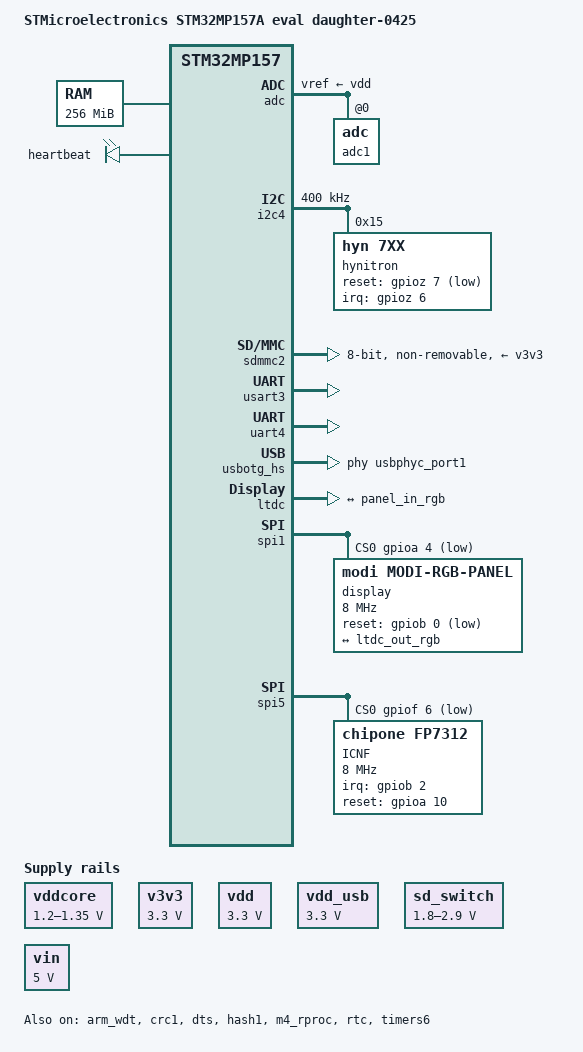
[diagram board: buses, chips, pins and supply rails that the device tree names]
// SPDX-License-Identifier: (GPL-2.0-or-later OR BSD-3-Clause)
/*
 * Copyright (C) STMicroelectronics 2022 - All Rights Reserved
 * Author: Alexandre Torgue <alexandre.torgue@foss.st.com> for STMicroelectronics.
 */
/dts-v1/;

#include "stm32mp157.dtsi"
#include "stm32mp15xa.dtsi"
#include "stm32mp15-pinctrl.dtsi"
#include "stm32mp15xxaa-pinctrl.dtsi"
#include "stm32mp15-m4-srm.dtsi"
#include "stm32mp15-m4-srm-pinctrl.dtsi"
#include "stm32mp157a-ed1-scmi.dtsi"
#include <dt-bindings/gpio/gpio.h>
#include <dt-bindings/mfd/st,stpmic1.h>

/ {
	model = "STMicroelectronics STM32MP157A eval daughter-0425";
	compatible = "st,stm32mp157a-ed1", "st,stm32mp157";

	aliases {
		serial0 = &uart4;
		serial2 = &usart3;
	};

	vddcore: regulator-vddcore {
        compatible = "regulator-fixed";
        regulator-name = "vddcore";
        regulator-min-microvolt = <1200000>;
        regulator-max-microvolt = <1350000>;
        regulator-off-in-suspend;
        regulator-always-on;
    };
    
	v3v3: regulator-3p3v {
        compatible = "regulator-fixed";
        regulator-name = "v3v3";
        regulator-min-microvolt = <3300000>;
        regulator-max-microvolt = <3300000>;
        regulator-off-in-suspend;
        regulator-always-on;
    };
    
    vdd: regulator-vdd {
        compatible = "regulator-fixed";
        regulator-name = "vdd";
        regulator-min-microvolt = <3300000>;
        regulator-max-microvolt = <3300000>;
        regulator-off-in-suspend;
        regulator-always-on;
    };

    vdd_usb: regulator-vdd-usb {
        compatible = "regulator-fixed";
        regulator-name = "vdd_usb";
        regulator-min-microvolt = <3300000>;
        regulator-max-microvolt = <3300000>;
        regulator-off-in-suspend;
        regulator-always-on;
    };    	

	chosen {
		stdout-path = "serial0:115200n8";
	};

	//add by jack.
	panel_backlight: panel-backlight {
		compatible = "gpio-backlight";
		gpios = <&gpioa 15 GPIO_ACTIVE_LOW>;
		default-on;
		status = "disabled";
	};

	memory@c0000000 {
		device_type = "memory";
		reg = <0xc0000000 0x10000000>; //modi: 0x10000000, native: 0x40000000
	};

	reserved-memory {
		#address-cells = <1>;
		#size-cells = <1>;
		ranges;

		mcuram2: mcuram2@10000000 {
			compatible = "shared-dma-pool";
			reg = <0x10000000 0x40000>;
			no-map;
		};

		vdev0vring0: vdev0vring0@10040000 {
			compatible = "shared-dma-pool";
			reg = <0x10040000 0x1000>;
			no-map;
		};

		vdev0vring1: vdev0vring1@10041000 {
			compatible = "shared-dma-pool";
			reg = <0x10041000 0x1000>;
			no-map;
		};

		vdev0buffer: vdev0buffer@10042000 {
			compatible = "shared-dma-pool";
			reg = <0x10042000 0x4000>;
			no-map;
		};

		mcu_rsc_table: mcu-rsc-table@10048000 {
			compatible = "shared-dma-pool";
			reg = <0x10048000 0x8000>;
			no-map;
		};

		mcuram: mcuram@30000000 {
			compatible = "shared-dma-pool";
			reg = <0x30000000 0x40000>;
			no-map;
		};

		retram: retram@38000000 {
			compatible = "shared-dma-pool";
			reg = <0x38000000 0x10000>;
			no-map;
		};

		gpu_reserved: gpu@e8000000 {
			reg = <0xe8000000 0x8000000>;
			no-map;
		};

		/* global autoconfigured region for contiguous allocations */
		linux,cma {
			compatible = "shared-dma-pool";
			reusable;
			size = <0x8000000>;
			alignment = <0x2000>;
			linux,cma-default;
		};
	};

	led {
		compatible = "gpio-leds";
		led-blue {
			label = "heartbeat";
			//gpios = <&gpiod 9 GPIO_ACTIVE_HIGH>;
			linux,default-trigger = "heartbeat";
			default-state = "off";
		};
	};

	sd_switch: regulator-sd-switch {
		compatible = "regulator-gpio";
		regulator-name = "sd_switch";
		regulator-min-microvolt = <1800000>;
		regulator-max-microvolt = <2900000>;
		regulator-type = "voltage";
		regulator-always-on;

		gpios = <&gpiof 14 GPIO_ACTIVE_HIGH>;
		gpios-states = <0>;
		states = <1800000 0x1>,
			 <2900000 0x0>;
	};

	vin: vin {
		compatible = "regulator-fixed";
		regulator-name = "vin";
		regulator-min-microvolt = <5000000>;
		regulator-max-microvolt = <5000000>;
		regulator-always-on;
	};

	//gpio模拟i2c总线，linux驱动. CONFIG_I2C_GPIO.
	//I2C4_SCL 	PZ4
	//I2C4_SDA	PZ5
	// i2c_gpio: i2c-gpio {
	// 	compatible = "i2c-gpio";
	// 	pinctrl-names = "default";
	// 	//pinctrl-0 = <&i2c4_pins_a>;
	// 	gpios = <&gpioz 5 GPIO_ACTIVE_HIGH>, /* sda, 使用gpioz5 */
	// 	<&gpioz 4 GPIO_ACTIVE_HIGH>; /* scl, 使用gpioz4 */
	// 	i2c-gpio,delay-us = <50>;
	// 	status = "okay";
	// 	#address-cells = <1>;
	// 	#size-cells = <0>;

	// 	hynitron@15{

	// 		//参考hynitron驱动内的readme.txt文件，MODI产品屏模组touchscreen驱动芯片cst836u, 驱动内对应配置如下：
	// 		// {.compatible = "hyn,7xx",  .data = &cst7xx_fuc,},    /*suport 726、826、836u*/
	// 		compatible = "hyn,7xx";	 /*suport 726、826、836u*/
	// 		reg = <0x15>; // i2c地址.
			
	// 		interrupt-parent = <&gpioz>;	//MODI,STM32MP157平台，中断在gpioz组内，编号为6.
	// 		interrupts = <6 0x02>;	// reference: interrupts = <6 IRQ_TYPE_EDGE_RISING>; //GPIOZ-6 pin. 中断触发方式为上升沿.
	// 		reset-gpio = <&gpioz 7 0x01>; 	/* 触摸屏复位. MODI, PZ7.*/
	// 		irq-gpio = <&gpioz 6 0x02>;		/* 定义触摸屏中断引脚. MODI, PZ6. */
		
	// 		//panel = <&dsi_1080p_video>;	//CONFIG_DRM_PANEL 需要配置
	// 		panel = <&display>;			/* 关联显示panel面板.*/

	// 		max-touch-number = <5>; 	/*最多5点触摸.*/
	// 		display-coords = <0 0 480 800>;	/*MODI, 480x800, default: display-coords = <0 0 800 1280>;*/
	// 		pos-swap = <0>;     	//xy坐标交换
	// 		posx-reverse = <0>; 	//x坐标反向
	// 		posy-reverse = <0>; 	//y坐标反向

	// 	};

		// sgtl5000: codec@a {
		// 	compatible = "fsl,sgtl5000";
		// 	reg = <0x0a>;
		// 	clocks = <&clk_26M_snd>;
		// 	VDDA-supply = <&vdig_reg>;
		// 	VDDIO-supply = <&vvideo_reg>;
		// 	#sound-dai-cells = <0>;
		// };
	// };

};

&adc {
	/* ANA0, ANA1 are dedicated pins and don't need pinctrl: only in6. */
	pinctrl-0 = <&adc1_in6_pins_a>;
	pinctrl-names = "default";
	vdd-supply = <&vdd>;
	vdda-supply = <&vdd>;
	vref-supply = <&vdd>;
	status = "okay";
	adc1: adc@0 {
		status = "okay";
		
		channel@4 {
			reg = <4>;
			st,adc-channels = <4>;
			//st,min-sample-time-ns = <400>;
			st,min-sample-time-nsecs = <400>;
		};
		
	};
};

&arm_wdt {
	timeout-sec = <32>;
	status = "okay";
};

&crc1 {
	status = "okay";
};

// &dac {
// 	pinctrl-names = "default";
// 	pinctrl-0 = <&dac_ch1_pins_a &dac_ch2_pins_a>;
// 	//vref-supply = <&vdda>;
// 	status = "disabled";
// 	dac1: dac@1 {
// 		status = "okay";
// 	};
// 	dac2: dac@2 {
// 		status = "okay";
// 	};
// };

&dts {
	status = "okay";
};

&gpu {
	contiguous-area = <&gpu_reserved>;
};

&hash1 {
	status = "okay";
};

/*
//tp
I2C4_SCL 	PZ4
I2C4_SDA	PZ5
TP_INT		PZ6
TP_RST		PZ7
*/
&i2c4 {
	pinctrl-names = "default", "sleep";
	pinctrl-0 = <&i2c4_pins_a>;
	pinctrl-1 = <&i2c4_sleep_pins_a>;
	//i2c-scl-rising-time-ns = <185>;
	//i2c-scl-falling-time-ns = <20>;
	clock-frequency = <400000>;
	/* spare dmas for other usage */
	///delete-property/dmas;
	///delete-property/dma-names;
	status = "okay";

	hynitron@15{

		//参考hynitron驱动内的readme.txt文件，MODI产品屏模组touchscreen驱动芯片cst836u, 驱动内对应配置如下：
		// {.compatible = "hyn,7xx",  .data = &cst7xx_fuc,},    /*suport 726、826、836u*/
		compatible = "hyn,7xx";	 /*suport 726、826、836u*/
		reg = <0x15>; // i2c地址.
		
		interrupt-parent = <&gpioz>;	//MODI,STM32MP157平台，中断在gpioz组内，编号为6.
        	interrupts = <6 0x02>;	// reference: interrupts = <6 IRQ_TYPE_EDGE_RISING>; //GPIOZ-6 pin. 中断触发方式为上升沿.
        	reset-gpio = <&gpioz 7 0x01>; 	/* 触摸屏复位. MODI, PZ7.*/
        	irq-gpio = <&gpioz 6 0x02>;		/* 定义触摸屏中断引脚. MODI, PZ6. */
        
        	//panel = <&dsi_1080p_video>;	//CONFIG_DRM_PANEL 需要配置
		panel = <&display>;			/* 关联显示panel面板.*/

        	max-touch-number = <5>; 	/*最多5点触摸.*/
        	display-coords = <0 0 480 800>;	/*MODI, 480x800, default: display-coords = <0 0 800 1280>;*/
		pos-swap = <0>;     	//xy坐标交换
		posx-reverse = <0>; 	//x坐标反向
		posy-reverse = <0>; 	//y坐标反向

	};
};

&ipcc {
	status = "okay";
};

&m4_rproc {
	memory-region = <&retram>, <&mcuram>, <&mcuram2>, <&vdev0vring0>,
			<&vdev0vring1>, <&vdev0buffer>, <&mcu_rsc_table>;
	mboxes = <&ipcc 0>, <&ipcc 1>, <&ipcc 2>, <&ipcc 3>;
	mbox-names = "vq0", "vq1", "shutdown", "detach";
	interrupt-parent = <&exti>;
	interrupts = <68 1>;
	wakeup-source;
	status = "okay";
};

&pwr_regulators {
	vdd-supply = <&vdd>;
	vdd_3v3_usbfs-supply = <&vdd_usb>;
};

&rtc {
	status = "okay";
};

&sdmmc1 {
	pinctrl-names = "default", "opendrain", "sleep";
	pinctrl-0 = <&sdmmc1_b4_pins_a &sdmmc1_dir_pins_a>;
	pinctrl-1 = <&sdmmc1_b4_od_pins_a &sdmmc1_dir_pins_a>;
	pinctrl-2 = <&sdmmc1_b4_sleep_pins_a &sdmmc1_dir_sleep_pins_a>;
	cd-gpios = <&gpiog 1 (GPIO_ACTIVE_LOW | GPIO_PULL_UP)>;
	disable-wp;
	st,sig-dir;
	st,neg-edge;
	st,use-ckin;
	bus-width = <4>;
	//vmmc-supply = <&vdd_sd>;
	vqmmc-supply = <&sd_switch>;
	sd-uhs-sdr12;
	sd-uhs-sdr25;
	sd-uhs-sdr50;
	sd-uhs-ddr50;
	status = "disabled";
};

&sdmmc2 {
	pinctrl-names = "default", "opendrain", "sleep";
	pinctrl-0 = <&sdmmc2_pins_modi>;
	pinctrl-1 = <&sdmmc2_opendrain_pins_modi>;
	pinctrl-2 = <&sdmmc2_sleep_pins_modi>;
	//pinctrl-0 = <&sdmmc2_b4_pins_a &sdmmc2_d47_pins_a>;
	//pinctrl-1 = <&sdmmc2_b4_od_pins_a &sdmmc2_d47_pins_a>;
	//pinctrl-2 = <&sdmmc2_b4_sleep_pins_a &sdmmc2_d47_sleep_pins_a>;
	status = "okay";
	non-removable;
	no-sd;
	no-sdio;
	bus-width = <8>;
	st,neg-edge;
	mmc-ddr-3_3v;
	max-frequency = <50000000>;
	vqmmc-supply = <&v3v3>;
	vmmc-supply = <&v3v3>;
};

&timers6 {
	status = "okay";
	/* spare dmas for other usage */
	/delete-property/dmas;
	/delete-property/dma-names;
	timer@5 {
		status = "okay";
	};
};

&usart3 {
	pinctrl-names = "default";
	pinctrl-0 = <&usart3_pins_a>;
	status = "okay";
};

&uart4 {
	pinctrl-names = "default", "sleep", "idle";
	pinctrl-0 = <&uart4_pins_a>;
	//pinctrl-1 = <&uart4_sleep_pins_a>;
	//pinctrl-2 = <&uart4_idle_pins_a>;
	/delete-property/dmas;
	/delete-property/dma-names;
	status = "okay";
};

&usbotg_hs {
	//vbus-supply = <&vbus_otg>;
	status = "okay";
	/* USER CODE BEGIN usbotg_hs */
	phys = <&usbphyc_port1 0>;
	phy-names = "usb2-phy";
	usb-role-switch;
	/* USER CODE END usbotg_hs */
};

&usbphyc_port0 {
	phy-supply = <&vdd_usb>;
};

&usbphyc_port1 {
	phy-supply = <&vdd_usb>;
};


&ltdc {
	pinctrl-names = "default", "sleep";
	pinctrl-0 = <&ltdc_pins_a>;
	pinctrl-1 = <&ltdc_sleep_pins_a>;
	buffer-size = <0x80000>; // 512kb memory -> framebuffer
	status = "okay";

    port {
		ltdc_out_rgb: endpoint {
			remote-endpoint = <&panel_in_rgb>;
		};
    };
};

&spi1 {
	status = "okay";
	pinctrl-names = "default";
	pinctrl-0 = <&spi1_pins_b>;
	pinctrl-1 = <&spi1_sleep_pins_b>;
	#address-cells = <1>;
	#size-cells = <0>;
	cs-gpios = <&gpioa 4 GPIO_ACTIVE_LOW>; //modi, rgb-panel sip cs signal: PA4.

	display: display@0{
		/* Connect panel modi-rgb-panel to ltdc */
		compatible = "modi,modi-rgb-panel";
		reg = <0>;
		spi-3wire;
		spi-max-frequency = <8000000>; //10000000, 10Mhz. 8000000, 8Mhz
		//dc-gpios = <&gpiod 13 0>;
		reset-gpios = <&gpiob 0 GPIO_ACTIVE_LOW>; //lcd,panel reset. modi, PB0.
		//backlight = <&panel_backlight>;
    		//data-mapping = "rgb888";
		port {
			panel_in_rgb: endpoint {
				remote-endpoint = <&ltdc_out_rgb>;
			};
		};
	};
};

&spi5 {
	status = "okay";
	pinctrl-names = "default";
	pinctrl-0 = <&spi5_pins_a>;
	pinctrl-1 = <&spi5_sleep_pins_a>;
	#address-cells = <1>;
	#size-cells = <0>;
	cs-gpios = <&gpiof 6 GPIO_ACTIVE_LOW>;

	ICNF: ICNF7312BL@0{
		compatible = "chipone,fp7312";
		spi-max-frequency = <8000000>;
		reg = <0>;
		interrupt-parent = <&gpiob>;	//MODI,STM32MP157平台，中断在gpioz组内，编号为6.
        	interrupts = <2 0x02>;	// reference: interrupts = <6 IRQ_TYPE_EDGE_RISING>; //GPIOZ-6 pin. 中断触发方式为上升沿.
        	irq-gpio = <&gpiob 2 0x02>;		/* 定义触摸屏中断引脚. MODI, PZ6. */
		reset-gpios = <&gpioa 10 GPIO_ACTIVE_HIGH>;
	}; 
};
